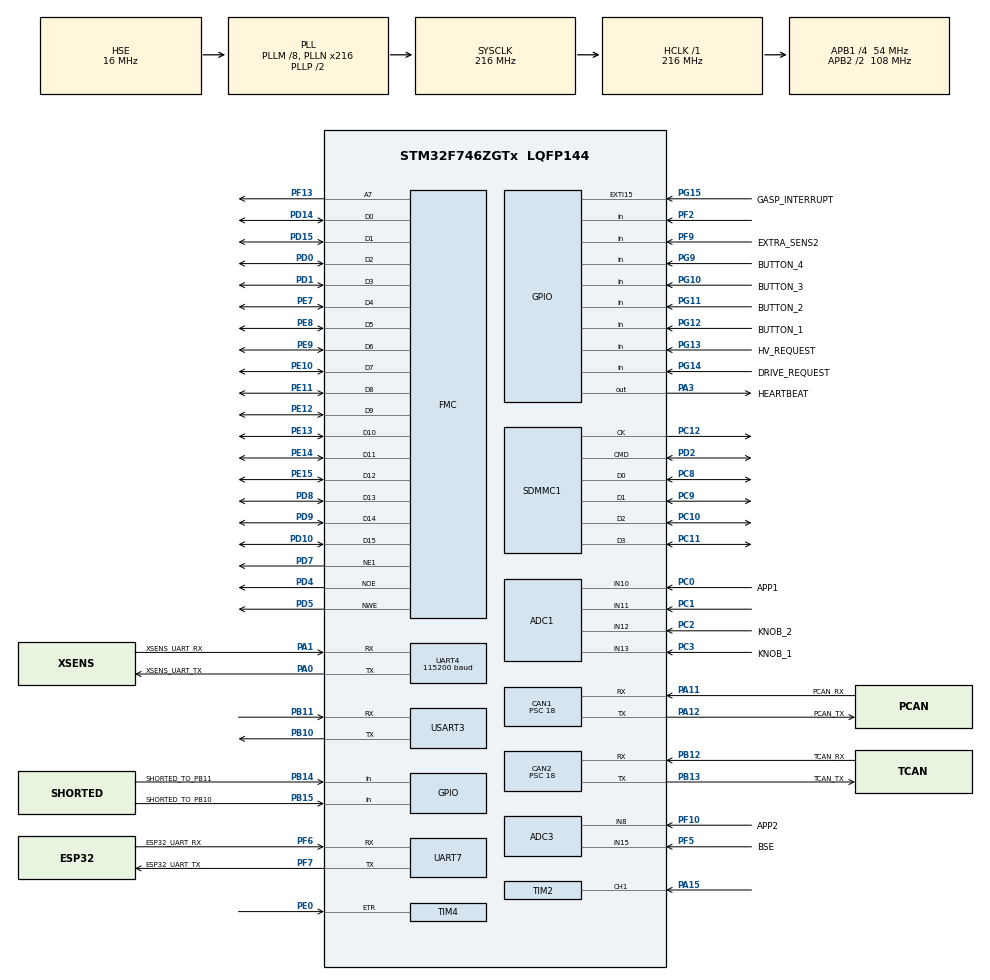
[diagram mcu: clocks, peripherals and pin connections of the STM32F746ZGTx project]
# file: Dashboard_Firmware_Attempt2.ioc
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ADC1.Channel-0\#ChannelRegularConversion=ADC_CHANNEL_10
ADC1.ContinuousConvMode=DISABLE
ADC1.ExternalTrigConv=ADC_SOFTWARE_START
ADC1.InjNumberOfConversion=0
ADC1.NbrOfConversion=1
ADC1.NbrOfConversionFlag=1
ADC1.Rank-0\#ChannelRegularConversion=1
ADC1.SamplingTime-0\#ChannelRegularConversion=ADC_SAMPLETIME_3CYCLES
ADC1.master=1
ADC3.Channel-0\#ChannelRegularConversion=ADC_CHANNEL_8
ADC3.ContinuousConvMode=DISABLE
ADC3.NbrOfConversion=1
ADC3.NbrOfConversionFlag=1
ADC3.Rank-0\#ChannelRegularConversion=1
ADC3.SamplingTime-0\#ChannelRegularConversion=ADC_SAMPLETIME_3CYCLES
CAN1.BS1=CAN_BS1_2TQ
CAN1.BS2=CAN_BS2_3TQ
CAN1.CalculateBaudRate=499999
CAN1.CalculateTimeBit=2000
CAN1.CalculateTimeQuantum=333.33333333333337
CAN1.Prescaler=18
CAN2.BS1=CAN_BS1_2TQ
CAN2.BS2=CAN_BS2_3TQ
CAN2.CalculateBaudRate=499999
CAN2.CalculateTimeBit=2000
CAN2.CalculateTimeQuantum=333.33333333333337
CAN2.Prescaler=18
Dma.ADC1.0.Direction=DMA_PERIPH_TO_MEMORY
Dma.ADC1.0.FIFOMode=DMA_FIFOMODE_DISABLE
Dma.ADC1.0.Instance=DMA2_Stream0
Dma.ADC1.0.MemDataAlignment=DMA_MDATAALIGN_HALFWORD
Dma.ADC1.0.MemInc=DMA_MINC_ENABLE
Dma.ADC1.0.Mode=DMA_NORMAL
Dma.ADC1.0.PeriphDataAlignment=DMA_PDATAALIGN_HALFWORD
Dma.ADC1.0.PeriphInc=DMA_PINC_DISABLE
Dma.ADC1.0.Priority=DMA_PRIORITY_MEDIUM
Dma.ADC3.1.Direction=DMA_PERIPH_TO_MEMORY
Dma.ADC3.1.FIFOMode=DMA_FIFOMODE_DISABLE
Dma.ADC3.1.Instance=DMA2_Stream1
Dma.ADC3.1.MemDataAlignment=DMA_MDATAALIGN_HALFWORD
Dma.ADC3.1.MemInc=DMA_MINC_ENABLE
Dma.ADC3.1.Mode=DMA_CIRCULAR
Dma.ADC3.1.PeriphDataAlignment=DMA_PDATAALIGN_HALFWORD
Dma.ADC3.1.PeriphInc=DMA_PINC_DISABLE
Dma.ADC3.1.Priority=DMA_PRIORITY_MEDIUM
Dma.Request0=ADC1
Dma.Request1=ADC3
Dma.Request2=SDMMC1_RX
Dma.Request3=SDMMC1_TX
Dma.Request4=UART4_RX
Dma.SDMMC1_RX.2.Direction=DMA_PERIPH_TO_MEMORY
Dma.SDMMC1_RX.2.FIFOMode=DMA_FIFOMODE_ENABLE
Dma.SDMMC1_RX.2.FIFOThreshold=DMA_FIFO_THRESHOLD_FULL
Dma.SDMMC1_RX.2.Instance=DMA2_Stream3
Dma.SDMMC1_RX.2.MemBurst=DMA_MBURST_INC4
Dma.SDMMC1_RX.2.MemDataAlignment=DMA_MDATAALIGN_WORD
Dma.SDMMC1_RX.2.MemInc=DMA_MINC_ENABLE
Dma.SDMMC1_RX.2.Mode=DMA_PFCTRL
Dma.SDMMC1_RX.2.PeriphBurst=DMA_PBURST_INC4
Dma.SDMMC1_RX.2.PeriphDataAlignment=DMA_PDATAALIGN_WORD
Dma.SDMMC1_RX.2.PeriphInc=DMA_PINC_DISABLE
Dma.SDMMC1_RX.2.Priority=DMA_PRIORITY_LOW
Dma.SDMMC1_TX.3.Direction=DMA_MEMORY_TO_PERIPH
Dma.SDMMC1_TX.3.FIFOMode=DMA_FIFOMODE_ENABLE
Dma.SDMMC1_TX.3.FIFOThreshold=DMA_FIFO_THRESHOLD_FULL
Dma.SDMMC1_TX.3.Instance=DMA2_Stream6
Dma.SDMMC1_TX.3.MemBurst=DMA_MBURST_INC4
Dma.SDMMC1_TX.3.MemDataAlignment=DMA_MDATAALIGN_WORD
Dma.SDMMC1_TX.3.MemInc=DMA_MINC_ENABLE
Dma.SDMMC1_TX.3.Mode=DMA_PFCTRL
Dma.SDMMC1_TX.3.PeriphBurst=DMA_PBURST_INC4
Dma.SDMMC1_TX.3.PeriphDataAlignment=DMA_PDATAALIGN_WORD
Dma.SDMMC1_TX.3.PeriphInc=DMA_PINC_DISABLE
Dma.SDMMC1_TX.3.Priority=DMA_PRIORITY_LOW
Dma.UART4_RX.4.Direction=DMA_PERIPH_TO_MEMORY
Dma.UART4_RX.4.FIFOMode=DMA_FIFOMODE_DISABLE
Dma.UART4_RX.4.Instance=DMA1_Stream2
Dma.UART4_RX.4.MemDataAlignment=DMA_MDATAALIGN_BYTE
Dma.UART4_RX.4.MemInc=DMA_MINC_ENABLE
Dma.UART4_RX.4.Mode=DMA_CIRCULAR
Dma.UART4_RX.4.PeriphDataAlignment=DMA_PDATAALIGN_BYTE
Dma.UART4_RX.4.PeriphInc=DMA_PINC_DISABLE
Dma.UART4_RX.4.Priority=DMA_PRIORITY_LOW
FATFS.BSP.number=1
FATFS.USE_DMA_CODE_SD=1
FATFS._MAX_SS=4096
FATFS._USE_LFN=0
FATFS0.BSP.STBoard=false
FATFS0.BSP.api=Unknown
FATFS0.BSP.instance=PF2
FATFS0.BSP.ip=GPIO
FATFS0.BSP.mode=Input
FATFS0.BSP.name=Detect_SDIO
FATFS0.BSP.solution=PF2
FREERTOS.Tasks01=DashboardMain,24,256,MainEntry,Default,NULL,Dynamic,NULL,NULL;SDCard,8,2048,SDCardEntry,Default,NULL,Dynamic,NULL,NULL
FREERTOS.configUSE_NEWLIB_REENTRANT=1
Mcu.Family=STM32F7
Mcu.Name=STM32F746ZGTx
Mcu.Package=LQFP144
NVIC.CAN1_RX0_IRQn=true\:5\:0\:false\:false\:true\:true\:true\:true\:true
NVIC.DMA1_Stream2_IRQn=true\:5\:0\:false\:false\:true\:true\:false\:true\:true
NVIC.DMA2_Stream0_IRQn=true\:5\:0\:false\:false\:true\:true\:false\:true\:true
NVIC.DMA2_Stream1_IRQn=true\:5\:0\:false\:false\:true\:true\:false\:true\:true
NVIC.DMA2_Stream3_IRQn=true\:5\:0\:false\:false\:true\:true\:false\:true\:true
NVIC.DMA2_Stream6_IRQn=true\:5\:0\:false\:false\:true\:true\:false\:true\:true
NVIC.EXTI15_10_IRQn=true\:5\:0\:false\:false\:true\:true\:true\:true\:true
NVIC.PriorityGroup=NVIC_PRIORITYGROUP_4
NVIC.SDMMC1_IRQn=true\:5\:0\:false\:false\:true\:true\:true\:true\:true
NVIC.TIM4_IRQn=true\:5\:0\:false\:false\:true\:true\:true\:true\:true
NVIC.TIM6_DAC_IRQn=true\:15\:0\:false\:false\:true\:false\:false\:true\:true
NVIC.TIM7_IRQn=true\:5\:0\:false\:false\:true\:true\:true\:true\:true
NVIC.TimeBase=TIM6_DAC_IRQn
NVIC.TimeBaseIP=TIM6
PA0/WKUP.GPIO_Label=XSENS_UART_TX
PA0/WKUP.Mode=Asynchronous
PA0/WKUP.Signal=UART4_TX
PA1.GPIO_Label=XSENS_UART_RX
PA1.Mode=Asynchronous
PA1.Signal=UART4_RX
PA11.GPIO_Label=PCAN_RX
PA11.Mode=CAN_Activate
PA11.Signal=CAN1_RX
PA12.GPIO_Label=PCAN_TX
PA12.Mode=CAN_Activate
PA12.Signal=CAN1_TX
PA13.Mode=Serial_Wire
PA13.Signal=SYS_JTMS-SWDIO
PA14.Mode=Serial_Wire
PA14.Signal=SYS_JTCK-SWCLK
PA15.Signal=S_TIM2_CH1_ETR
PA3.GPIO_Label=HEARTBEAT
PA3.Signal=GPIO_Output
PB10.Mode=Asynchronous
PB10.Signal=USART3_TX
PB11.Mode=Asynchronous
PB11.Signal=USART3_RX
PB12.GPIO_Label=TCAN_RX
PB12.Mode=CAN_Activate
PB12.Signal=CAN2_RX
PB13.GPIO_Label=TCAN_TX
PB13.Mode=CAN_Activate
PB13.Signal=CAN2_TX
PB14.GPIO_Label=SHORTED_TO_PB11
PB14.Signal=GPIO_Input
PB15.GPIO_Label=SHORTED_TO_PB10
PB15.Signal=GPIO_Input
PC0.GPIO_Label=APP1
PC0.Signal=ADCx_IN10
PC1.Signal=ADCx_IN11
PC10.Mode=SD_4_bits_Wide_bus
PC10.Signal=SDMMC1_D2
PC11.Mode=SD_4_bits_Wide_bus
PC11.Signal=SDMMC1_D3
PC12.GPIO_PuPd=GPIO_PULLUP
PC12.Mode=SD_4_bits_Wide_bus
PC12.Signal=SDMMC1_CK
PC2.GPIO_Label=KNOB_2
PC2.Signal=ADCx_IN12
PC3.GPIO_Label=KNOB_1
PC3.Signal=ADCx_IN13
PC8.GPIO_PuPd=GPIO_PULLUP
PC8.Mode=SD_4_bits_Wide_bus
PC8.Signal=SDMMC1_D0
PC9.Mode=SD_4_bits_Wide_bus
PC9.Signal=SDMMC1_D1
PD0.Signal=FMC_D2_DA2
PD1.Signal=FMC_D3_DA3
PD10.Signal=FMC_D15_DA15
PD14.Signal=FMC_D0_DA0
PD15.Signal=FMC_D1_DA1
PD2.GPIO_PuPd=GPIO_PULLUP
PD2.Mode=SD_4_bits_Wide_bus
PD2.Signal=SDMMC1_CMD
PD4.Signal=FMC_NOE
PD5.Signal=FMC_NWE
PD7.Mode=NorPsramChipSelect1_1
PD7.Signal=FMC_NE1
PD8.Signal=FMC_D13_DA13
PD9.Signal=FMC_D14_DA14
PE0.Signal=S_TIM4_ETR
PE10.Signal=FMC_D7_DA7
PE11.Signal=FMC_D8_DA8
PE12.Signal=FMC_D9_DA9
PE13.Signal=FMC_D10_DA10
PE14.Signal=FMC_D11_DA11
PE15.Signal=FMC_D12_DA12
PE7.Signal=FMC_D4_DA4
PE8.Signal=FMC_D5_DA5
PE9.Signal=FMC_D6_DA6
PF10.GPIO_Label=APP2
PF10.Mode=IN8
PF10.Signal=ADC3_IN8
PF13.Signal=FMC_A7
PF2.Signal=GPIO_Input
PF5.GPIO_Label=BSE
PF5.Mode=IN15
PF5.Signal=ADC3_IN15
PF6.GPIO_Label=ESP32_UART_RX
PF6.Mode=Asynchronous
PF6.Signal=UART7_RX
PF7.GPIO_Label=ESP32_UART_TX
PF7.Mode=Asynchronous
PF7.Signal=UART7_TX
PF9.GPIO_Label=EXTRA_SENS2
PF9.Signal=GPIO_Input
PG10.GPIO_Label=BUTTON_3
PG10.Signal=GPIO_Input
PG11.GPIO_Label=BUTTON_2
PG11.Signal=GPIO_Input
PG12.GPIO_Label=BUTTON_1
PG12.Signal=GPIO_Input
PG13.GPIO_Label=HV_REQUEST
PG13.Signal=GPIO_Input
PG14.GPIO_Label=DRIVE_REQUEST
PG14.Signal=GPIO_Input
PG15.GPIO_Label=GASP_INTERRUPT
PG15.Signal=GPXTI15
PG9.GPIO_Label=BUTTON_4
PG9.Signal=GPIO_Input
PH0/OSC_IN.Mode=HSE-External-Oscillator
PH0/OSC_IN.Signal=RCC_OSC_IN
PH1/OSC_OUT.Mode=HSE-External-Oscillator
PH1/OSC_OUT.Signal=RCC_OSC_OUT
ProjectManager.HeapSize=0x200
ProjectManager.StackSize=0x400
ProjectManager.TargetToolchain=STM32CubeIDE
RCC.AHBFreq_Value=216000000
RCC.APB1CLKDivider=RCC_HCLK_DIV4
RCC.APB1Freq_Value=54000000
RCC.APB1TimFreq_Value=108000000
RCC.APB2CLKDivider=RCC_HCLK_DIV2
RCC.APB2Freq_Value=108000000
RCC.APB2TimFreq_Value=216000000
RCC.CortexFreq_Value=216000000
RCC.HCLKFreq_Value=216000000
RCC.HSE_VALUE=16000000
RCC.HSI_VALUE=16000000
RCC.LSE_VALUE=32768
RCC.PLLM=8
RCC.PLLN=216
RCC.PLLQ=9
RCC.PLLSourceVirtual=RCC_PLLSOURCE_HSE
RCC.SDMMCClockSelection=RCC_SDMMC1CLKSOURCE_CLK48
RCC.SYSCLKFreq_VALUE=216000000
RCC.SYSCLKSource=RCC_SYSCLKSOURCE_PLLCLK
RCC.USBFreq_Value=48000000
RCC.VCOOutputFreq_Value=432000000
SH.ADCx_IN10.0=ADC1_IN10,IN10
SH.ADCx_IN11.0=ADC1_IN11,IN11
SH.ADCx_IN12.0=ADC1_IN12,IN12
SH.ADCx_IN13.0=ADC1_IN13,IN13
SH.FMC_A7.0=FMC_A7,A7_1
SH.FMC_D0_DA0.0=FMC_D0,16b-d1
SH.FMC_D10_DA10.0=FMC_D10,16b-d1
SH.FMC_D11_DA11.0=FMC_D11,16b-d1
SH.FMC_D12_DA12.0=FMC_D12,16b-d1
SH.FMC_D13_DA13.0=FMC_D13,16b-d1
SH.FMC_D14_DA14.0=FMC_D14,16b-d1
SH.FMC_D15_DA15.0=FMC_D15,16b-d1
SH.FMC_D1_DA1.0=FMC_D1,16b-d1
SH.FMC_D2_DA2.0=FMC_D2,16b-d1
SH.FMC_D3_DA3.0=FMC_D3,16b-d1
SH.FMC_D4_DA4.0=FMC_D4,16b-d1
SH.FMC_D5_DA5.0=FMC_D5,16b-d1
SH.FMC_D6_DA6.0=FMC_D6,16b-d1
SH.FMC_D7_DA7.0=FMC_D7,16b-d1
SH.FMC_D8_DA8.0=FMC_D8,16b-d1
SH.FMC_D9_DA9.0=FMC_D9,16b-d1
SH.FMC_NOE.0=FMC_NOE,Lcd1
SH.FMC_NWE.0=FMC_NWE,Lcd1
SH.S_TIM2_CH1_ETR.0=TIM2_CH1,TriggerSource_TI1FP1
SH.S_TIM2_CH1_ETR.1=TIM2_CH1,Input_Capture1_from_TI1
SH.S_TIM4_ETR.0=TIM4_ETR,TriggerSource_ETR
TIM2.Channel-Input_Capture1_from_TI1=TIM_CHANNEL_1
TIM2.Prescaler=1000
TIM4.Prescaler=0
TIM7.Period=5000
TIM7.Prescaler=8000
UART4.BaudRate=115200
USART3.VirtualMode-Asynchronous=VM_ASYNC
VP_FATFS_VS_SDIO.Mode=SDIO
VP_FREERTOS_VS_CMSIS_V2.Mode=CMSIS_V2
VP_SYS_VS_tim6.Mode=TIM6
VP_TIM2_VS_ClockSourceINT.Mode=Internal
VP_TIM2_VS_ControllerModeReset.Mode=Reset Mode
VP_TIM4_VS_ControllerModeClock.Mode=Clock Mode
VP_TIM7_VS_ClockSourceINT.Mode=Enable_Timer
board=custom

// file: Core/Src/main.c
/* USER CODE BEGIN Header */
/**
  ******************************************************************************
  * @file           : main.c
  * @brief          : Main program body
  ******************************************************************************
  * @attention
  *
  * Copyright (c) 2024 STMicroelectronics.
  * All rights reserved.
  *
  * This software is licensed under terms that can be found in the LICENSE file
  * in the root directory of this software component.
  * If no LICENSE file comes with this software, it is provided AS-IS.
  *
  ******************************************************************************
  */
/* USER CODE END Header */
#include "main.h"
#include "cmsis_os.h"
#include "fatfs.h"

/* USER CODE BEGIN Includes */
#include "stdio.h"
#include "inttypes.h"
#include "can_manager.h"
#include "sensors.h"
#include "fsm.h"
#include "traction_control.h"
#include "frucd_display.h"
#include "sd_card.h"
#include "wheel_speed.h"
#include "telem.h"
#include "xsens.h"
#include "driver_input.h"
#include "ugui.h"
#include "serial_print.h"
#include "config.h"

/* USER CODE END Includes */

ADC_HandleTypeDef hadc1;
ADC_HandleTypeDef hadc3;
DMA_HandleTypeDef hdma_adc1;
DMA_HandleTypeDef hdma_adc3;

CAN_HandleTypeDef hcan1;
CAN_HandleTypeDef hcan2;

SD_HandleTypeDef hsd1;
DMA_HandleTypeDef hdma_sdmmc1_rx;
DMA_HandleTypeDef hdma_sdmmc1_tx;

TIM_HandleTypeDef htim2;
TIM_HandleTypeDef htim4;
TIM_HandleTypeDef htim7;

UART_HandleTypeDef huart4;
UART_HandleTypeDef huart7;
UART_HandleTypeDef huart3;
DMA_HandleTypeDef hdma_uart4_rx;

/* Definitions for DashboardMain */
osThreadId_t DashboardMainHandle;
const osThreadAttr_t DashboardMain_attributes = {
  .name = "DashboardMain",
  .stack_size = 256 * 4,
  .priority = (osPriority_t) osPriorityNormal,
};
/* Definitions for SDCard */
osThreadId_t SDCardHandle;
const osThreadAttr_t SDCard_attributes = {
  .name = "SDCard",
  .stack_size = 2048 * 4,
  .priority = (osPriority_t) osPriorityLow,
};
/* USER CODE BEGIN PV */

// Keeps track of timer waiting for pre-charging
volatile unsigned int precharge_timer_ms = 0;
volatile uint8_t init_fault_cleared = 0;
extern uint32_t torque_req;

/* USER CODE END PV */

void SystemClock_Config(void);
static void MX_GPIO_Init(void);
static void MX_DMA_Init(void);
static void MX_CAN2_Init(void);
static void MX_SDMMC1_SD_Init(void);
static void MX_ADC1_Init(void);
static void MX_ADC3_Init(void);
static void MX_TIM4_Init(void);
static void MX_UART4_Init(void);
static void MX_UART7_Init(void);
static void MX_CAN1_Init(void);
static void MX_USART3_UART_Init(void);
static void MX_TIM7_Init(void);
static void MX_TIM2_Init(void);
void MainEntry(void *argument);
void SDCardEntry(void *argument);

/* USER CODE BEGIN 0 */

uint8_t shutdown_closed() {
    if (estop_flags) return 0;
    return (shutdown_flags & 0b00111000) == 0b00111000;
}

void HAL_GPIO_EXTI_Callback(uint16_t GPIO_Pin) {
	if (GPIO_Pin == GASP_INTERRUPT_Pin) {
//		sd_card_close_file();
	}
}

volatile uint32_t front_right_wheel_speed;
volatile uint32_t front_left_wheel_speed;

WheelSpeedPW_t front_right_wheel_speed_t;
WheelSpeed_t front_left_wheel_speed_t;

uint16_t sg_adc;

unsigned int discrepancy_timer_ms = 0;

extern volatile uint32_t torque_percentage;
extern volatile uint32_t launch_control_param;
extern volatile uint32_t prev_torque_percentage;
extern volatile uint32_t prev_launch_control_param;

// TEST END

/* USER CODE END 0 */

int main(void)
{

  /* MCU Configuration--------------------------------------------------------*/

  /* Reset of all peripherals, Initializes the Flash interface and the Systick. */
  HAL_Init();

  /* Configure the system clock */
  SystemClock_Config();

  /* Initialize all configured peripherals */
  MX_GPIO_Init();
  MX_DMA_Init();
  MX_CAN2_Init();
  MX_SDMMC1_SD_Init();
  MX_ADC1_Init();
  MX_ADC3_Init();
  MX_TIM4_Init();
  MX_UART4_Init();
  MX_UART7_Init();
  MX_CAN1_Init();
  MX_USART3_UART_Init();
  MX_TIM7_Init();
  MX_FATFS_Init();
  MX_TIM2_Init();
  /* USER CODE BEGIN 2 */

//  mount_sd_card();

  /* USER CODE END 2 */

  /* Init scheduler */
  osKernelInitialize();

  /* Create the thread(s) */
  /* creation of DashboardMain */
  DashboardMainHandle = osThreadNew(MainEntry, NULL, &DashboardMain_attributes);

  /* creation of SDCard */
  SDCardHandle = osThreadNew(SDCardEntry, NULL, &SDCard_attributes);

  /* Start scheduler */
  osKernelStart();

  /* We should never get here as control is now taken by the scheduler */

  /* Infinite loop */
  while (1)
  {

  }
}

void SystemClock_Config(void)
{
  RCC_OscInitTypeDef RCC_OscInitStruct = {0};
  RCC_ClkInitTypeDef RCC_ClkInitStruct = {0};

  /** Configure the main internal regulator output voltage
  */
  __HAL_RCC_PWR_CLK_ENABLE();
  __HAL_PWR_VOLTAGESCALING_CONFIG(PWR_REGULATOR_VOLTAGE_SCALE1);

  /** Initializes the RCC Oscillators according to the specified parameters
  * in the RCC_OscInitTypeDef structure.
  */
  RCC_OscInitStruct.OscillatorType = RCC_OSCILLATORTYPE_HSE;
  RCC_OscInitStruct.HSEState = RCC_HSE_ON;
  RCC_OscInitStruct.PLL.PLLState = RCC_PLL_ON;
  RCC_OscInitStruct.PLL.PLLSource = RCC_PLLSOURCE_HSE;
  RCC_OscInitStruct.PLL.PLLM = 8;
  RCC_OscInitStruct.PLL.PLLN = 216;
  RCC_OscInitStruct.PLL.PLLP = RCC_PLLP_DIV2;
  RCC_OscInitStruct.PLL.PLLQ = 9;
  if (HAL_RCC_OscConfig(&RCC_OscInitStruct) != HAL_OK)
  {
    Error_Handler();
  }

  /** Activate the Over-Drive mode
  */
  if (HAL_PWREx_EnableOverDrive() != HAL_OK)
  {
    Error_Handler();
  }

  /** Initializes the CPU, AHB and APB buses clocks
  */
  RCC_ClkInitStruct.ClockType = RCC_CLOCKTYPE_HCLK|RCC_CLOCKTYPE_SYSCLK
                              |RCC_CLOCKTYPE_PCLK1|RCC_CLOCKTYPE_PCLK2;
  RCC_ClkInitStruct.SYSCLKSource = RCC_SYSCLKSOURCE_PLLCLK;
  RCC_ClkInitStruct.AHBCLKDivider = RCC_SYSCLK_DIV1;
  RCC_ClkInitStruct.APB1CLKDivider = RCC_HCLK_DIV4;
  RCC_ClkInitStruct.APB2CLKDivider = RCC_HCLK_DIV2;

  if (HAL_RCC_ClockConfig(&RCC_ClkInitStruct, FLASH_LATENCY_7) != HAL_OK)
  {
    Error_Handler();
  }
}

static void MX_ADC1_Init(void)
{

  ADC_ChannelConfTypeDef sConfig = {0};

  /** Configure the global features of the ADC (Clock, Resolution, Data Alignment and number of conversion)
  */
  hadc1.Instance = ADC1;
  hadc1.Init.ClockPrescaler = ADC_CLOCK_SYNC_PCLK_DIV4;
  hadc1.Init.Resolution = ADC_RESOLUTION_12B;
  hadc1.Init.ScanConvMode = ADC_SCAN_DISABLE;
  hadc1.Init.ContinuousConvMode = DISABLE;
  hadc1.Init.DiscontinuousConvMode = DISABLE;
  hadc1.Init.ExternalTrigConvEdge = ADC_EXTERNALTRIGCONVEDGE_NONE;
  hadc1.Init.ExternalTrigConv = ADC_SOFTWARE_START;
  hadc1.Init.DataAlign = ADC_DATAALIGN_RIGHT;
  hadc1.Init.NbrOfConversion = 1;
  hadc1.Init.DMAContinuousRequests = DISABLE;
  hadc1.Init.EOCSelection = ADC_EOC_SINGLE_CONV;
  if (HAL_ADC_Init(&hadc1) != HAL_OK)
  {
    Error_Handler();
  }

  /** Configure for the selected ADC regular channel its corresponding rank in the sequencer and its sample time.
  */
  sConfig.Channel = ADC_CHANNEL_10;
  sConfig.Rank = ADC_REGULAR_RANK_1;
  sConfig.SamplingTime = ADC_SAMPLETIME_3CYCLES;
  if (HAL_ADC_ConfigChannel(&hadc1, &sConfig) != HAL_OK)
  {
    Error_Handler();
  }
  /* USER CODE BEGIN ADC1_Init 2 */
//
  /* USER CODE END ADC1_Init 2 */

}

static void MX_ADC3_Init(void)
{

  ADC_ChannelConfTypeDef sConfig = {0};

  /** Configure the global features of the ADC (Clock, Resolution, Data Alignment and number of conversion)
  */
  hadc3.Instance = ADC3;
  hadc3.Init.ClockPrescaler = ADC_CLOCK_SYNC_PCLK_DIV4;
  hadc3.Init.Resolution = ADC_RESOLUTION_12B;
  hadc3.Init.ScanConvMode = ADC_SCAN_DISABLE;
  hadc3.Init.ContinuousConvMode = DISABLE;
  hadc3.Init.DiscontinuousConvMode = DISABLE;
  hadc3.Init.ExternalTrigConvEdge = ADC_EXTERNALTRIGCONVEDGE_NONE;
  hadc3.Init.ExternalTrigConv = ADC_SOFTWARE_START;
  hadc3.Init.DataAlign = ADC_DATAALIGN_RIGHT;
  hadc3.Init.NbrOfConversion = 1;
  hadc3.Init.DMAContinuousRequests = DISABLE;
  hadc3.Init.EOCSelection = ADC_EOC_SINGLE_CONV;
  if (HAL_ADC_Init(&hadc3) != HAL_OK)
  {
    Error_Handler();
  }

  /** Configure for the selected ADC regular channel its corresponding rank in the sequencer and its sample time.
  */
  sConfig.Channel = ADC_CHANNEL_8;
  sConfig.Rank = ADC_REGULAR_RANK_1;
  sConfig.SamplingTime = ADC_SAMPLETIME_3CYCLES;
  if (HAL_ADC_ConfigChannel(&hadc3, &sConfig) != HAL_OK)
  {
    Error_Handler();
  }

}

static void MX_CAN1_Init(void)
{

  hcan1.Instance = CAN1;
  hcan1.Init.Prescaler = 18;
  hcan1.Init.Mode = CAN_MODE_NORMAL;
  hcan1.Init.SyncJumpWidth = CAN_SJW_1TQ;
  hcan1.Init.TimeSeg1 = CAN_BS1_2TQ;
  hcan1.Init.TimeSeg2 = CAN_BS2_3TQ;
  hcan1.Init.TimeTriggeredMode = DISABLE;
  hcan1.Init.AutoBusOff = DISABLE;
  hcan1.Init.AutoWakeUp = DISABLE;
  hcan1.Init.AutoRetransmission = DISABLE;
  hcan1.Init.ReceiveFifoLocked = DISABLE;
  hcan1.Init.TransmitFifoPriority = DISABLE;
  if (HAL_CAN_Init(&hcan1) != HAL_OK)
  {
    Error_Handler();
  }
  /* USER CODE BEGIN CAN1_Init 2 */

  /*##-2- Configure the CAN Filter ###########################################*/
    CAN_FilterTypeDef canfilterconfig;

    canfilterconfig.FilterActivation = CAN_FILTER_ENABLE;
    canfilterconfig.FilterBank = 18;  // which filter bank to use from the assigned ones
    canfilterconfig.FilterFIFOAssignment = CAN_FILTER_FIFO0;
    canfilterconfig.FilterIdHigh = 0x0;
    canfilterconfig.FilterIdLow = 0x0;
    canfilterconfig.FilterMaskIdHigh = 0x0;
    canfilterconfig.FilterMaskIdLow = 0x0000;
    canfilterconfig.FilterMode = CAN_FILTERMODE_IDMASK;
    canfilterconfig.FilterScale = CAN_FILTERSCALE_32BIT;
    canfilterconfig.SlaveStartFilterBank = 20;  // how many filters to assign to the CAN1 (master can)

  	if (HAL_CAN_ConfigFilter(&hcan1, &canfilterconfig) != HAL_OK)
  	{
  	  /* Filter configuration Error */
  	  Error_Handler();
  	}

  	/*##-3- Start the CAN peripheral ###########################################*/
  	if (HAL_CAN_Start(&hcan1) != HAL_OK)
  	{
  	  /* Start Error */
  	  Error_Handler();
  	}

  	/*##-4- Activate CAN RX notification #######################################*/
  	if (HAL_CAN_ActivateNotification(&hcan1, CAN_IT_RX_FIFO0_MSG_PENDING) != HAL_OK)
  	{
  	  /* Notification Error */
  	  Error_Handler();
  	}

  /* USER CODE END CAN1_Init 2 */

}

static void MX_CAN2_Init(void)
{

  hcan2.Instance = CAN2;
  hcan2.Init.Prescaler = 18;
  hcan2.Init.Mode = CAN_MODE_NORMAL;
  hcan2.Init.SyncJumpWidth = CAN_SJW_1TQ;
  hcan2.Init.TimeSeg1 = CAN_BS1_2TQ;
  hcan2.Init.TimeSeg2 = CAN_BS2_3TQ;
  hcan2.Init.TimeTriggeredMode = DISABLE;
  hcan2.Init.AutoBusOff = DISABLE;
  hcan2.Init.AutoWakeUp = DISABLE;
  hcan2.Init.AutoRetransmission = DISABLE;
  hcan2.Init.ReceiveFifoLocked = DISABLE;
  hcan2.Init.TransmitFifoPriority = DISABLE;
  if (HAL_CAN_Init(&hcan2) != HAL_OK)
  {
    Error_Handler();
  }

}

static void MX_SDMMC1_SD_Init(void)
{

  hsd1.Instance = SDMMC1;
  hsd1.Init.ClockEdge = SDMMC_CLOCK_EDGE_RISING;
  hsd1.Init.ClockBypass = SDMMC_CLOCK_BYPASS_DISABLE;
  hsd1.Init.ClockPowerSave = SDMMC_CLOCK_POWER_SAVE_DISABLE;
  hsd1.Init.BusWide = SDMMC_BUS_WIDE_4B;
  hsd1.Init.HardwareFlowControl = SDMMC_HARDWARE_FLOW_CONTROL_DISABLE;
  hsd1.Init.ClockDiv = 0;
  /* USER CODE BEGIN SDMMC1_Init 2 */
  hsd1.Init.BusWide = SDMMC_BUS_WIDE_1B;

  if (HAL_SD_Init(&hsd1) != HAL_OK) return;
  if (HAL_SD_ConfigWideBusOperation(&hsd1, SDMMC_BUS_WIDE_4B) != HAL_OK) return;
  /* USER CODE END SDMMC1_Init 2 */

}

static void MX_TIM2_Init(void)
{

  TIM_ClockConfigTypeDef sClockSourceConfig = {0};
  TIM_SlaveConfigTypeDef sSlaveConfig = {0};
  TIM_MasterConfigTypeDef sMasterConfig = {0};
  TIM_IC_InitTypeDef sConfigIC = {0};

  htim2.Instance = TIM2;
  htim2.Init.Prescaler = 1000;
  htim2.Init.CounterMode = TIM_COUNTERMODE_UP;
  htim2.Init.Period = 4294967295;
  htim2.Init.ClockDivision = TIM_CLOCKDIVISION_DIV1;
  htim2.Init.AutoReloadPreload = TIM_AUTORELOAD_PRELOAD_DISABLE;
  if (HAL_TIM_Base_Init(&htim2) != HAL_OK)
  {
    Error_Handler();
  }
  sClockSourceConfig.ClockSource = TIM_CLOCKSOURCE_INTERNAL;
  if (HAL_TIM_ConfigClockSource(&htim2, &sClockSourceConfig) != HAL_OK)
  {
    Error_Handler();
  }
  if (HAL_TIM_IC_Init(&htim2) != HAL_OK)
  {
    Error_Handler();
  }
  sSlaveConfig.SlaveMode = TIM_SLAVEMODE_RESET;
  sSlaveConfig.InputTrigger = TIM_TS_TI1FP1;
  sSlaveConfig.TriggerPolarity = TIM_INPUTCHANNELPOLARITY_RISING;
  sSlaveConfig.TriggerFilter = 0;
  if (HAL_TIM_SlaveConfigSynchro(&htim2, &sSlaveConfig) != HAL_OK)
  {
    Error_Handler();
  }
  sMasterConfig.MasterOutputTrigger = TIM_TRGO_RESET;
  sMasterConfig.MasterSlaveMode = TIM_MASTERSLAVEMODE_DISABLE;
  if (HAL_TIMEx_MasterConfigSynchronization(&htim2, &sMasterConfig) != HAL_OK)
  {
    Error_Handler();
  }
  sConfigIC.ICPolarity = TIM_INPUTCHANNELPOLARITY_RISING;
  sConfigIC.ICSelection = TIM_ICSELECTION_DIRECTTI;
  sConfigIC.ICPrescaler = TIM_ICPSC_DIV1;
  sConfigIC.ICFilter = 0;
  if (HAL_TIM_IC_ConfigChannel(&htim2, &sConfigIC, TIM_CHANNEL_1) != HAL_OK)
  {
    Error_Handler();
  }

}

static void MX_TIM4_Init(void)
{

  TIM_SlaveConfigTypeDef sSlaveConfig = {0};
  TIM_MasterConfigTypeDef sMasterConfig = {0};

  htim4.Instance = TIM4;
  htim4.Init.Prescaler = 0;
  htim4.Init.CounterMode = TIM_COUNTERMODE_UP;
  htim4.Init.Period = 65535;
  htim4.Init.ClockDivision = TIM_CLOCKDIVISION_DIV1;
  htim4.Init.AutoReloadPreload = TIM_AUTORELOAD_PRELOAD_DISABLE;
  if (HAL_TIM_Base_Init(&htim4) != HAL_OK)
  {
    Error_Handler();
  }
  sSlaveConfig.SlaveMode = TIM_SLAVEMODE_EXTERNAL1;
  sSlaveConfig.InputTrigger = TIM_TS_ETRF;
  sSlaveConfig.TriggerPolarity = TIM_TRIGGERPOLARITY_NONINVERTED;
  sSlaveConfig.TriggerPrescaler = TIM_TRIGGERPRESCALER_DIV1;
  sSlaveConfig.TriggerFilter = 0;
  if (HAL_TIM_SlaveConfigSynchro(&htim4, &sSlaveConfig) != HAL_OK)
  {
    Error_Handler();
  }
  sMasterConfig.MasterOutputTrigger = TIM_TRGO_RESET;
  sMasterConfig.MasterSlaveMode = TIM_MASTERSLAVEMODE_DISABLE;
  if (HAL_TIMEx_MasterConfigSynchronization(&htim4, &sMasterConfig) != HAL_OK)
  {
    Error_Handler();
  }

}

static void MX_TIM7_Init(void)
{

  TIM_MasterConfigTypeDef sMasterConfig = {0};

  htim7.Instance = TIM7;
  htim7.Init.Prescaler = 8000;
  htim7.Init.CounterMode = TIM_COUNTERMODE_UP;
  htim7.Init.Period = 5000;
  htim7.Init.AutoReloadPreload = TIM_AUTORELOAD_PRELOAD_DISABLE;
  if (HAL_TIM_Base_Init(&htim7) != HAL_OK)
  {
    Error_Handler();
  }
  sMasterConfig.MasterOutputTrigger = TIM_TRGO_RESET;
  sMasterConfig.MasterSlaveMode = TIM_MASTERSLAVEMODE_DISABLE;
  if (HAL_TIMEx_MasterConfigSynchronization(&htim7, &sMasterConfig) != HAL_OK)
  {
    Error_Handler();
  }
  /* USER CODE BEGIN TIM7_Init 2 */
  NVIC_EnableIRQ(TIM7_IRQn);

  /* USER CODE END TIM7_Init 2 */

}

static void MX_UART4_Init(void)
{

  huart4.Instance = UART4;
  huart4.Init.BaudRate = 115200;
  huart4.Init.WordLength = UART_WORDLENGTH_8B;
  huart4.Init.StopBits = UART_STOPBITS_1;
  huart4.Init.Parity = UART_PARITY_NONE;
  huart4.Init.Mode = UART_MODE_TX_RX;
  huart4.Init.HwFlowCtl = UART_HWCONTROL_NONE;
  huart4.Init.OverSampling = UART_OVERSAMPLING_16;
  huart4.Init.OneBitSampling = UART_ONE_BIT_SAMPLE_DISABLE;
  huart4.AdvancedInit.AdvFeatureInit = UART_ADVFEATURE_NO_INIT;
  if (HAL_UART_Init(&huart4) != HAL_OK)
  {
    Error_Handler();
  }

}

static void MX_UART7_Init(void)
{

  huart7.Instance = UART7;
  huart7.Init.BaudRate = 115200;
  huart7.Init.WordLength = UART_WORDLENGTH_8B;
  huart7.Init.StopBits = UART_STOPBITS_1;
  huart7.Init.Parity = UART_PARITY_NONE;
  huart7.Init.Mode = UART_MODE_TX_RX;
  huart7.Init.HwFlowCtl = UART_HWCONTROL_NONE;
  huart7.Init.OverSampling = UART_OVERSAMPLING_16;
  huart7.Init.OneBitSampling = UART_ONE_BIT_SAMPLE_DISABLE;
  huart7.AdvancedInit.AdvFeatureInit = UART_ADVFEATURE_NO_INIT;
  if (HAL_UART_Init(&huart7) != HAL_OK)
  {
    Error_Handler();
  }

}

static void MX_USART3_UART_Init(void)
{

  huart3.Instance = USART3;
  huart3.Init.BaudRate = 115200;
  huart3.Init.WordLength = UART_WORDLENGTH_8B;
  huart3.Init.StopBits = UART_STOPBITS_1;
  huart3.Init.Parity = UART_PARITY_NONE;
  huart3.Init.Mode = UART_MODE_TX_RX;
  huart3.Init.HwFlowCtl = UART_HWCONTROL_NONE;
  huart3.Init.OverSampling = UART_OVERSAMPLING_16;
  huart3.Init.OneBitSampling = UART_ONE_BIT_SAMPLE_DISABLE;
  huart3.AdvancedInit.AdvFeatureInit = UART_ADVFEATURE_NO_INIT;
  if (HAL_UART_Init(&huart3) != HAL_OK)
  {
    Error_Handler();
  }

}

static void MX_DMA_Init(void)
{

  /* DMA controller clock enable */
  __HAL_RCC_DMA2_CLK_ENABLE();
  __HAL_RCC_DMA1_CLK_ENABLE();

  /* DMA interrupt init */
  /* DMA1_Stream2_IRQn interrupt configuration */
  HAL_NVIC_SetPriority(DMA1_Stream2_IRQn, 5, 0);
  HAL_NVIC_EnableIRQ(DMA1_Stream2_IRQn);
  /* DMA2_Stream0_IRQn interrupt configuration */
  HAL_NVIC_SetPriority(DMA2_Stream0_IRQn, 5, 0);
  HAL_NVIC_EnableIRQ(DMA2_Stream0_IRQn);
  /* DMA2_Stream1_IRQn interrupt configuration */
  HAL_NVIC_SetPriority(DMA2_Stream1_IRQn, 5, 0);
  HAL_NVIC_EnableIRQ(DMA2_Stream1_IRQn);
  /* DMA2_Stream3_IRQn interrupt configuration */
  HAL_NVIC_SetPriority(DMA2_Stream3_IRQn, 5, 0);
  HAL_NVIC_EnableIRQ(DMA2_Stream3_IRQn);
  /* DMA2_Stream6_IRQn interrupt configuration */
  HAL_NVIC_SetPriority(DMA2_Stream6_IRQn, 5, 0);
  HAL_NVIC_EnableIRQ(DMA2_Stream6_IRQn);

}

static void MX_GPIO_Init(void)
{
  GPIO_InitTypeDef GPIO_InitStruct = {0};

  /* GPIO Ports Clock Enable */
  __HAL_RCC_GPIOF_CLK_ENABLE();
  __HAL_RCC_GPIOH_CLK_ENABLE();
  __HAL_RCC_GPIOC_CLK_ENABLE();
  __HAL_RCC_GPIOA_CLK_ENABLE();
  __HAL_RCC_GPIOB_CLK_ENABLE();
  __HAL_RCC_GPIOD_CLK_ENABLE();
  __HAL_RCC_GPIOG_CLK_ENABLE();
  __HAL_RCC_GPIOE_CLK_ENABLE();

  /*Configure GPIO pin Output Level */
  HAL_GPIO_WritePin(HEARTBEAT_GPIO_Port, HEARTBEAT_Pin, GPIO_PIN_RESET);

  /*Configure GPIO pins : PF2 EXTRA_SENS2_Pin */
  GPIO_InitStruct.Pin = GPIO_PIN_2|EXTRA_SENS2_Pin;
  GPIO_InitStruct.Mode = GPIO_MODE_INPUT;
  GPIO_InitStruct.Pull = GPIO_NOPULL;
  HAL_GPIO_Init(GPIOF, &GPIO_InitStruct);

  /*Configure GPIO pin : HEARTBEAT_Pin */
  GPIO_InitStruct.Pin = HEARTBEAT_Pin;
  GPIO_InitStruct.Mode = GPIO_MODE_OUTPUT_PP;
  GPIO_InitStruct.Pull = GPIO_NOPULL;
  GPIO_InitStruct.Speed = GPIO_SPEED_FREQ_LOW;
  HAL_GPIO_Init(HEARTBEAT_GPIO_Port, &GPIO_InitStruct);

  /*Configure GPIO pins : SHORTED_TO_PB11_Pin SHORTED_TO_PB10_Pin */
  GPIO_InitStruct.Pin = SHORTED_TO_PB11_Pin|SHORTED_TO_PB10_Pin;
  GPIO_InitStruct.Mode = GPIO_MODE_INPUT;
  GPIO_InitStruct.Pull = GPIO_NOPULL;
  HAL_GPIO_Init(GPIOB, &GPIO_InitStruct);

  /*Configure GPIO pins : BUTTON_4_Pin BUTTON_3_Pin BUTTON_2_Pin BUTTON_1_Pin
                           HV_REQUEST_Pin DRIVE_REQUEST_Pin */
  GPIO_InitStruct.Pin = BUTTON_4_Pin|BUTTON_3_Pin|BUTTON_2_Pin|BUTTON_1_Pin
                          |HV_REQUEST_Pin|DRIVE_REQUEST_Pin;
  GPIO_InitStruct.Mode = GPIO_MODE_INPUT;
  GPIO_InitStruct.Pull = GPIO_NOPULL;
  HAL_GPIO_Init(GPIOG, &GPIO_InitStruct);

  /*Configure GPIO pin : GASP_INTERRUPT_Pin */
  GPIO_InitStruct.Pin = GASP_INTERRUPT_Pin;
  GPIO_InitStruct.Mode = GPIO_MODE_IT_RISING;
  GPIO_InitStruct.Pull = GPIO_NOPULL;
  HAL_GPIO_Init(GASP_INTERRUPT_GPIO_Port, &GPIO_InitStruct);

  /* EXTI interrupt init*/
  HAL_NVIC_SetPriority(EXTI15_10_IRQn, 5, 0);
  HAL_NVIC_EnableIRQ(EXTI15_10_IRQn);

}

void MainEntry(void *argument)
{
  /* USER CODE BEGIN 5 */
	uint32_t precharge_tick_start = 0;
	init_sensors();

	Display_Init();
	Display_Splashscreen();
	osDelay(2000); // let their eyes bathe in the glory

	Display_DriveTemplate();

	if (HAL_TIM_Base_Start_IT(&htim7) != HAL_OK) {
	  Error_Handler();
	}
	/* if (HAL_TIM_Base_Start_IT(&htim1) != HAL_OK) {
	  Error_Handler();
	}*/
	if (HAL_TIM_Base_Start_IT(&htim4) != HAL_OK) {
	  Error_Handler();
	}

	//WheelSpeedPW_Init(&front_right_wheel_speed_t, &htim1, TIM_CHANNEL_1);
	WheelSpeed_Init(&front_left_wheel_speed_t, &htim4);

  /* Infinite loop */
  for(;;)
  {

	// driver input
	driver_input_update();

	// display
	Display_Update();

	// send data to ESP32
	telem_send();
	//write_rx_to_sd();

	//char sstr[100];
	//	  sprintf(sstr, "apps1: %d, apps2: %d, bse: %d      ", throttle1.percent, throttle2.percent, brake.percent);
	//	  UG_PutString(5, 250, sstr);

	update_sensor_vals(&hadc1, &hadc3);

	/*
	 * T.4.2.5 in FSAE 2022 rulebook
	 * If an implausibility occurs between the values of the APPSs and
	 * persists for more than 100 msec, the power to the Motor(s) must
	 * be immediately stopped completely.
	 *
	 * It is not necessary to Open the Shutdown Circuit, the motor
	 * controller(s) stopping the power to the Motor(s) is sufficient.
	 */
	if (has_discrepancy()) {
		discrepancy_timer_ms += TMR1_PERIOD_MS;
		if (discrepancy_timer_ms > MAX_DISCREPANCY_MS && state == DRIVE) {
			report_fault(SENSOR_DISCREPANCY);
		}
	} else {
		discrepancy_timer_ms = 0;
	}

	// Transmit CAN messages
	can_tx_vcu_state(&hcan1);
	can_tx_vcu_state(&hcan2); // for telemnode
	can_tx_torque_request(&hcan1);
	can_tx_throttle_raw(&hcan1);

	// update front wheel speeds
	front_right_wheel_speed = WheelSpeedPW_GetCPS(&front_right_wheel_speed_t);
	front_left_wheel_speed = WheelSpeed_GetCPS(&front_left_wheel_speed_t);

	// strain gauge
	//sg_adc = get_adc_conversion(&hadc1, STRAIN_GAUGE);
	telem_id = 2;
	can_tx_sg(&hcan1, sg_adc);

	//sprintf(sstr, "fsg: %u, rsg: %u", sg_adc, sg_rear);
	//UG_PutString(5, 250, sstr);

	// traction control
	if (is_button_enabled(TC_BUTTON)) {
		traction_control_PID(front_right_wheel_speed, front_left_wheel_speed);
	}

	// If shutdown circuit opens in any state
	if (!shutdown_closed()) {
		report_fault(SHUTDOWN_CIRCUIT_OPEN);
	}

	//if hard BSPD trips in any state
	/*if (!HAL_GPIO_ReadPin(HARD_BSPD_GPIO_Port, HARD_BSPD_Pin)) {
	  report_fault(HARD_BSPD);
	}*/ // TODO: Add back

	if (mc_fault) {
	  report_fault(MC_FAULT);
	}

//	if (mc_fault) {
//		can_clear_MC_fault(&hcan1);
//	//  if (mc_fault_clear_success) {
//		// init_fault_cleared = 1;
//	//  }
//	}

	Xsens_Update(&huart4);

	// send knob percents to raspi display on change
	if (torque_percentage != prev_torque_percentage ||
		launch_control_param != prev_launch_control_param) {
		can_tx_knobs(&hcan1);
	}

	switch (state) {
		case LV_LOCK:
			run_calibration();

			if (!is_switch_on(HV_SWITCH) && !is_switch_on(DRIVE_SWITCH)) {
			  change_state(LV);
			}
			break;
		case LV:
			run_calibration();

			// check if APPS pedal was calibrated
			if(!sensors_calibrated()){
				report_fault(UNCALIBRATED);
				break;
			}

			if (is_switch_on(HV_SWITCH)) {
				add_apps_deadzone();
				precharge_tick_start = HAL_GetTick();
				change_state(PRECHARGING);
				break;
			}

			break;
		case PRECHARGING:
			// Driver turned off HV via button
			if (!is_switch_on(HV_SWITCH)) {
				change_state(LV);
				break;
			}

			if((HAL_GetTick() - precharge_tick_start) > PRECHARGE_TIMEOUT_MS){
				report_fault(PRECHARGE_TIMEOUT);
				break;
			}

		  // if main AIRs closed
			if ((shutdown_flags & 0b110) == 0b110) {
				// Finished charging to HV on time
				change_state(HV_ENABLED);
				break;
			}

			break;
		case HV_LOCK:
			if (!is_switch_on(HV_SWITCH)) {
				// Driver flipped off HV switch
				change_state(LV);
				break;
			}

			if(!is_switch_on(DRIVE_SWITCH)){
				// wait until drive is low to switch into true HV
				change_state(HV_ENABLED);
			}
			break;
		case HV_ENABLED:
			// driver turned off HV
			if (!is_switch_on(HV_SWITCH)) {// || capacitor_volt < PRECHARGE_THRESHOLD) { // don't really need volt check by rules
				change_state(LV);
				break;
			}

			// driver attempt to go to drive mode
			if (is_switch_on(DRIVE_SWITCH)) {
				if (brake_mashed()) {
					change_state(DRIVE);
				}
				else {
					// driver didn't press brake
					report_fault(BRAKE_NOT_PRESSED);
				}
			}

			break;
		case DRIVE:
			// driver turned off drive
			if (!is_switch_on(DRIVE_SWITCH)) {
				change_state(HV_ENABLED);
				break;
			}

			if (!is_switch_on(HV_SWITCH)) {// || capacitor_volt < PRECHARGE_THRESHOLD) { // don't really need volt check by rules
				// driver turned off HV
				change_state(LV);
				break;
			}

			if (is_brake_implausible()) {
				report_fault(BRAKE_IMPLAUSIBLE);
			}

			break;
		case FAULT:
			switch (error) {
				case BRAKE_NOT_PRESSED:
					if (!is_switch_on(HV_SWITCH)){
						change_state(LV);
						break;
					}

					if (!is_switch_on(DRIVE_SWITCH)) {
						// reset drive switch and try again
						change_state(HV_ENABLED);
					}
					break;
				case SENSOR_DISCREPANCY:
					// stop power to motors if discrepancy persists for >100ms
					// see rule T.4.2.5 in FSAE 2022 rulebook
					if (!is_switch_on(DRIVE_SWITCH)) {
						discrepancy_timer_ms = 0;
						change_state(HV_ENABLED);
					}

					if (!is_switch_on(HV_SWITCH))
						change_state(LV);

					break;
				case BRAKE_IMPLAUSIBLE:
					if (!is_switch_on(HV_SWITCH)){
						change_state(LV);
						break;
					}

					if (!is_switch_on(DRIVE_SWITCH)){
						change_state(HV_ENABLED);
						break;
					}

					if (!is_brake_implausible()){
						change_state(DRIVE);
						break;
					}

					break;
				case SHUTDOWN_CIRCUIT_OPEN:
					if (shutdown_closed()) {
						change_state(LV); // change to startup so we don't instantly request precharge
					}
					break;
				case HARD_BSPD:
				  //should not be recoverable, but let hardware decide this
				  /*if (!HAL_GPIO_ReadPin(HARD_BSPD_GPIO_Port, HARD_BSPD_Pin)) {
					  change_state(LV);
				  }*/
					break;

				case UNCALIBRATED:
					run_calibration();

					// check if APPS pedal was calibrated
					if(sensors_calibrated()){
						change_state(LV); // change to startup so we don't instantly request precharge
						break;
					}
					break;
				case MC_FAULT:
					if (!mc_fault) {
						change_state(LV);
					}
					break;
				case PRECHARGE_TIMEOUT:
					// give time for fault message to show on display before going to LV
					if ((HAL_GetTick() - precharge_tick_start) > PRECHARGE_TIMEOUT_MS+1000) {
						change_state(LV);
					}
					break;
				default:
					break;
			}
		break;
	  }

	HAL_GPIO_TogglePin(HEARTBEAT_GPIO_Port, HEARTBEAT_Pin);
//	osDelay(10);
  }

  // In case we accidentally leave the infinite loop
  osThreadTerminate(osThreadGetId());
  /* USER CODE END 5 */
}

void SDCardEntry(void *argument)
{
  /* USER CODE BEGIN SDCardEntry */

	sd_card_mount_result_t res = sd_card_mount();
	if (res != SD_CARD_MOUNT_RESULT_SUCCESS) {
		// FAILED TO MOUNT SD CARD!
		osThreadTerminate(osThreadGetId());
	}

	/* Infinite loop */
	while (1)
	{
		osDelay(3);
		// sd_card_write_sync();
		sd_card_update_async();
	}

	/* In case we accidentally leave the infinite loop */
	sd_card_flush();
	osThreadTerminate(osThreadGetId());
  /* USER CODE END SDCardEntry */
}

void HAL_TIM_PeriodElapsedCallback(TIM_HandleTypeDef *htim)
{
  /* USER CODE BEGIN Callback 0 */
	if (htim->Instance == TIM7) {

	}
  /* USER CODE END Callback 0 */
  if (htim->Instance == TIM6) {
    HAL_IncTick();
  }
}

void Error_Handler(void)
{
  /* USER CODE BEGIN Error_Handler_Debug */
  /* User can add his own implementation to report the HAL error return state */
  __disable_irq();
  while (1)
  {
	  UG_PutString(5, 250, "HAL ERROR");
  }
  /* USER CODE END Error_Handler_Debug */
}
